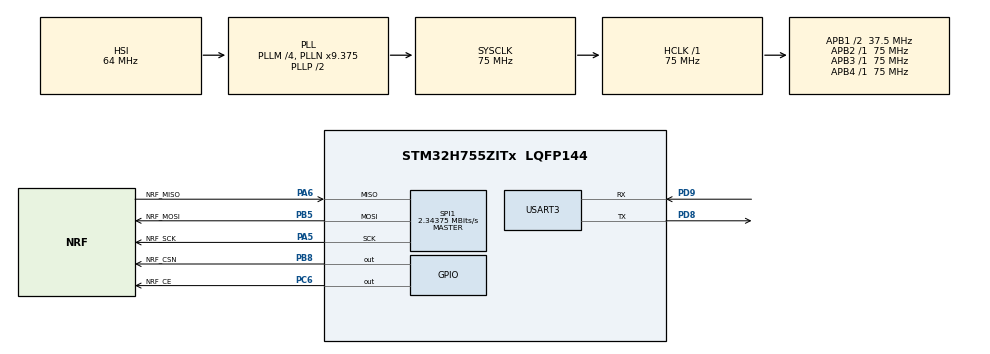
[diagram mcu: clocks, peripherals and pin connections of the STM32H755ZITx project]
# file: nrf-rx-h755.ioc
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CortexM4.IPs=BDMA,CORTEX_M4\:I,DEBUG,DMA,FATFS_M4\:I,FREERTOS_M4\:I,GPIO,IWDG2\:I,MDMA,NVIC2\:I,OPENAMP_M4\:I,PDM2PCM_M4\:I,PWR,RCC,RESMGR_UTILITY,SYS_M4\:I,USB_DEVICE_M4\:I,USB_HOST_M4\:I,VREFBUF,WWDG2\:I
CortexM7.IPs=BDMA\:I,CORTEX_M7\:I,DEBUG\:I,DMA\:I,FATFS_M7\:I,FREERTOS_M7\:I,GPIO\:I,IWDG1\:I,MDMA\:I,NVIC1\:I,OPENAMP_M7\:I,PDM2PCM_M7\:I,PWR\:I,RCC\:I,RESMGR_UTILITY\:I,SYS\:I,USB_DEVICE_M7\:I,USB_HOST_M7\:I,VREFBUF\:I,WWDG1\:I,USART3\:I,SPI1\:I
CortexM7.Pins=PC6,PB8
Mcu.Family=STM32H7
Mcu.Name=STM32H755ZITx
Mcu.Package=LQFP144
NVIC1.PriorityGroup=NVIC_PRIORITYGROUP_4
NVIC2.PriorityGroup=NVIC_PRIORITYGROUP_4
PA5.GPIO_Label=NRF_SCK
PA5.Mode=Full_Duplex_Master
PA5.PinAttribute=CortexM7
PA5.Signal=SPI1_SCK
PA6.GPIO_Label=NRF_MISO
PA6.Mode=Full_Duplex_Master
PA6.PinAttribute=CortexM7
PA6.Signal=SPI1_MISO
PB5.GPIO_Label=NRF_MOSI
PB5.Mode=Full_Duplex_Master
PB5.PinAttribute=CortexM7
PB5.Signal=SPI1_MOSI
PB8.GPIO_Label=NRF_CSN
PB8.PinAttribute=CortexM7
PB8.Signal=GPIO_Output
PC6.GPIO_Label=NRF_CE
PC6.PinAttribute=CortexM7
PC6.Signal=GPIO_Output
PD8.Mode=Asynchronous
PD8.PinAttribute=CortexM7
PD8.Signal=USART3_TX
PD9.Mode=Asynchronous
PD9.PinAttribute=CortexM7
PD9.Signal=USART3_RX
ProjectManager.HeapSize=M4-0x200,M7-0x200
ProjectManager.StackSize=M4-0x400,M7-0x400
ProjectManager.TargetToolchain=STM32CubeIDE
RCC.ADCFreq_Value=129000000
RCC.APB1Freq_Value=37500000
RCC.APB2Freq_Value=75000000
RCC.APB3Freq_Value=75000000
RCC.APB4Freq_Value=75000000
RCC.CortexFreq_Value=75000000
RCC.D2PPRE1=RCC_APB1_DIV2
RCC.DIVM1=4
RCC.DIVN1=9
RCC.HCLKFreq_Value=75000000
RCC.PLL2FRACN=0
RCC.PLL3FRACN=0
RCC.PLLFRACN=3072
RCC.SYSCLKFreq_VALUE=75000000
RCC.SYSCLKSource=RCC_SYSCLKSOURCE_PLLCLK
RCC.USBFreq_Value=75000000
SPI1.BaudRatePrescaler=SPI_BAUDRATEPRESCALER_32
SPI1.CalculateBaudRate=2.34375 MBits/s
SPI1.DataSize=SPI_DATASIZE_8BIT
SPI1.Direction=SPI_DIRECTION_2LINES
SPI1.Mode=SPI_MODE_MASTER
SPI1.VirtualType=VM_MASTER
USART3.VirtualMode-Asynchronous=VM_ASYNC
board=custom

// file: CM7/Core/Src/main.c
/* USER CODE BEGIN Header */
/**
  ******************************************************************************
  * @file           : main.c
  * @brief          : Main program body
  ******************************************************************************
  * @attention
  *
  * Copyright (c) 2023 STMicroelectronics.
  * All rights reserved.
  *
  * This software is licensed under terms that can be found in the LICENSE file
  * in the root directory of this software component.
  * If no LICENSE file comes with this software, it is provided AS-IS.
  *
  ******************************************************************************
  */
/* USER CODE END Header */
#include "main.h"

/* USER CODE BEGIN Includes */
#include <stdio.h>
#include "nrf24l01.h"
/* USER CODE END Includes */

/* USER CODE BEGIN PD */

#ifndef HSEM_ID_0
#define HSEM_ID_0 (0U) /* HW semaphore 0*/
#endif

/* USER CODE END PD */

SPI_HandleTypeDef hspi1;

UART_HandleTypeDef huart3;

void SystemClock_Config(void);
static void MX_GPIO_Init(void);
static void MX_USART3_UART_Init(void);
static void MX_SPI1_Init(void);

/* USER CODE BEGIN 0 */
#ifdef __GNUC__
#define PUTCHAR_PROTOTYPE int __io_putchar(int ch)
#else
#define PUTCHAR_PROTOTYPE int fputc(int ch, FILE *f)
#endif

PUTCHAR_PROTOTYPE
{
  HAL_UART_Transmit(&huart3, (uint8_t *)&ch, 1, HAL_MAX_DELAY);
  return ch;
}
/* USER CODE END 0 */

int main(void)
{
/* USER CODE BEGIN Boot_Mode_Sequence_0 */
  int32_t timeout;
/* USER CODE END Boot_Mode_Sequence_0 */

/* USER CODE BEGIN Boot_Mode_Sequence_1 */
  /* Wait until CPU2 boots and enters in stop mode or timeout*/
  timeout = 0xFFFF;
  while((__HAL_RCC_GET_FLAG(RCC_FLAG_D2CKRDY) != RESET) && (timeout-- > 0));
  if ( timeout < 0 )
  {
  Error_Handler();
  }
/* USER CODE END Boot_Mode_Sequence_1 */
  /* MCU Configuration--------------------------------------------------------*/

  /* Reset of all peripherals, Initializes the Flash interface and the Systick. */
  HAL_Init();

  /* Configure the system clock */
  SystemClock_Config();
/* USER CODE BEGIN Boot_Mode_Sequence_2 */
/* When system initialization is finished, Cortex-M7 will release Cortex-M4 by means of
HSEM notification */
/*HW semaphore Clock enable*/
__HAL_RCC_HSEM_CLK_ENABLE();
/*Take HSEM */
HAL_HSEM_FastTake(HSEM_ID_0);
/*Release HSEM in order to notify the CPU2(CM4)*/
HAL_HSEM_Release(HSEM_ID_0,0);
/* wait until CPU2 wakes up from stop mode */
timeout = 0xFFFF;
while((__HAL_RCC_GET_FLAG(RCC_FLAG_D2CKRDY) == RESET) && (timeout-- > 0));
if ( timeout < 0 )
{
Error_Handler();
}
/* USER CODE END Boot_Mode_Sequence_2 */

  /* Initialize all configured peripherals */
  MX_GPIO_Init();
  MX_USART3_UART_Init();
  MX_SPI1_Init();
  /* USER CODE BEGIN 2 */
  // Enter Standby-I mode
  NRF_Init(&hspi1, NRF_CSN_GPIO_Port, NRF_CSN_Pin, NRF_CE_GPIO_Port, NRF_CE_Pin);

  // Verify connection through SPI
  if(NRF_VerifySPI() != HAL_OK) {
    printf("Couldn't connect to nRF24L01+...\r\n");
    Error_Handler();
  }

  // Configure device
  NRF_SetModeRx();

  uint8_t rxAddr[5] = {1,2,3,4,5};
  NRF_WriteRegister(NRF_REG_RX_ADDR_P0, rxAddr, 5);

  uint8_t write = 10;
  NRF_WriteRegister(NRF_REG_RX_PW_P0, &write, 1);

  NRF_WriteBitReg(NRF_REG_STATUS, 6);

  // Flush TX FIFO
  NRF_SendCommand(NRF_CMD_FLUSH_RX);

  printf("Initalised...\r\n");

  NRF_CE_set();

  printf("Entered RX mode...\r\n");

  NRF_PrintFIFOStatus();
  NRF_PrintStatus();
  /* USER CODE END 2 */

  /* Infinite loop */
  /* USER CODE BEGIN WHILE */
  while (1)
  {
    uint8_t status;
    NRF_GetStatus(&status);
    if (status & 0x40) {
      uint8_t payload[10];
      NRF_ReadPayload(payload, 10);
      printf("Recieved data: ");
      for (int i = 0; i < 10; i++) {
        printf("%c", payload[i]);
      }
      printf("\r\n");
      NRF_WriteBitReg(NRF_REG_STATUS, 6);
    }
    /* USER CODE END WHILE */

  }
}

void SystemClock_Config(void)
{
  RCC_OscInitTypeDef RCC_OscInitStruct = {0};
  RCC_ClkInitTypeDef RCC_ClkInitStruct = {0};

  /** Supply configuration update enable
  */
  HAL_PWREx_ConfigSupply(PWR_DIRECT_SMPS_SUPPLY);

  /** Configure the main internal regulator output voltage
  */
  __HAL_PWR_VOLTAGESCALING_CONFIG(PWR_REGULATOR_VOLTAGE_SCALE3);

  while(!__HAL_PWR_GET_FLAG(PWR_FLAG_VOSRDY)) {}

  /** Initializes the RCC Oscillators according to the specified parameters
  * in the RCC_OscInitTypeDef structure.
  */
  RCC_OscInitStruct.OscillatorType = RCC_OSCILLATORTYPE_HSI;
  RCC_OscInitStruct.HSIState = RCC_HSI_DIV1;
  RCC_OscInitStruct.HSICalibrationValue = RCC_HSICALIBRATION_DEFAULT;
  RCC_OscInitStruct.PLL.PLLState = RCC_PLL_ON;
  RCC_OscInitStruct.PLL.PLLSource = RCC_PLLSOURCE_HSI;
  RCC_OscInitStruct.PLL.PLLM = 4;
  RCC_OscInitStruct.PLL.PLLN = 9;
  RCC_OscInitStruct.PLL.PLLP = 2;
  RCC_OscInitStruct.PLL.PLLQ = 2;
  RCC_OscInitStruct.PLL.PLLR = 2;
  RCC_OscInitStruct.PLL.PLLRGE = RCC_PLL1VCIRANGE_3;
  RCC_OscInitStruct.PLL.PLLVCOSEL = RCC_PLL1VCOMEDIUM;
  RCC_OscInitStruct.PLL.PLLFRACN = 3072;
  if (HAL_RCC_OscConfig(&RCC_OscInitStruct) != HAL_OK)
  {
    Error_Handler();
  }

  /** Initializes the CPU, AHB and APB buses clocks
  */
  RCC_ClkInitStruct.ClockType = RCC_CLOCKTYPE_HCLK|RCC_CLOCKTYPE_SYSCLK
                              |RCC_CLOCKTYPE_PCLK1|RCC_CLOCKTYPE_PCLK2
                              |RCC_CLOCKTYPE_D3PCLK1|RCC_CLOCKTYPE_D1PCLK1;
  RCC_ClkInitStruct.SYSCLKSource = RCC_SYSCLKSOURCE_PLLCLK;
  RCC_ClkInitStruct.SYSCLKDivider = RCC_SYSCLK_DIV1;
  RCC_ClkInitStruct.AHBCLKDivider = RCC_HCLK_DIV1;
  RCC_ClkInitStruct.APB3CLKDivider = RCC_APB3_DIV1;
  RCC_ClkInitStruct.APB1CLKDivider = RCC_APB1_DIV2;
  RCC_ClkInitStruct.APB2CLKDivider = RCC_APB2_DIV1;
  RCC_ClkInitStruct.APB4CLKDivider = RCC_APB4_DIV1;

  if (HAL_RCC_ClockConfig(&RCC_ClkInitStruct, FLASH_LATENCY_1) != HAL_OK)
  {
    Error_Handler();
  }
}

static void MX_SPI1_Init(void)
{

  /* SPI1 parameter configuration*/
  hspi1.Instance = SPI1;
  hspi1.Init.Mode = SPI_MODE_MASTER;
  hspi1.Init.Direction = SPI_DIRECTION_2LINES;
  hspi1.Init.DataSize = SPI_DATASIZE_8BIT;
  hspi1.Init.CLKPolarity = SPI_POLARITY_LOW;
  hspi1.Init.CLKPhase = SPI_PHASE_1EDGE;
  hspi1.Init.NSS = SPI_NSS_SOFT;
  hspi1.Init.BaudRatePrescaler = SPI_BAUDRATEPRESCALER_32;
  hspi1.Init.FirstBit = SPI_FIRSTBIT_MSB;
  hspi1.Init.TIMode = SPI_TIMODE_DISABLE;
  hspi1.Init.CRCCalculation = SPI_CRCCALCULATION_DISABLE;
  hspi1.Init.CRCPolynomial = 0x0;
  hspi1.Init.NSSPMode = SPI_NSS_PULSE_ENABLE;
  hspi1.Init.NSSPolarity = SPI_NSS_POLARITY_LOW;
  hspi1.Init.FifoThreshold = SPI_FIFO_THRESHOLD_01DATA;
  hspi1.Init.TxCRCInitializationPattern = SPI_CRC_INITIALIZATION_ALL_ZERO_PATTERN;
  hspi1.Init.RxCRCInitializationPattern = SPI_CRC_INITIALIZATION_ALL_ZERO_PATTERN;
  hspi1.Init.MasterSSIdleness = SPI_MASTER_SS_IDLENESS_00CYCLE;
  hspi1.Init.MasterInterDataIdleness = SPI_MASTER_INTERDATA_IDLENESS_00CYCLE;
  hspi1.Init.MasterReceiverAutoSusp = SPI_MASTER_RX_AUTOSUSP_DISABLE;
  hspi1.Init.MasterKeepIOState = SPI_MASTER_KEEP_IO_STATE_DISABLE;
  hspi1.Init.IOSwap = SPI_IO_SWAP_DISABLE;
  if (HAL_SPI_Init(&hspi1) != HAL_OK)
  {
    Error_Handler();
  }

}

static void MX_USART3_UART_Init(void)
{

  huart3.Instance = USART3;
  huart3.Init.BaudRate = 115200;
  huart3.Init.WordLength = UART_WORDLENGTH_8B;
  huart3.Init.StopBits = UART_STOPBITS_1;
  huart3.Init.Parity = UART_PARITY_NONE;
  huart3.Init.Mode = UART_MODE_TX_RX;
  huart3.Init.HwFlowCtl = UART_HWCONTROL_NONE;
  huart3.Init.OverSampling = UART_OVERSAMPLING_16;
  huart3.Init.OneBitSampling = UART_ONE_BIT_SAMPLE_DISABLE;
  huart3.Init.ClockPrescaler = UART_PRESCALER_DIV1;
  huart3.AdvancedInit.AdvFeatureInit = UART_ADVFEATURE_NO_INIT;
  if (HAL_UART_Init(&huart3) != HAL_OK)
  {
    Error_Handler();
  }
  if (HAL_UARTEx_SetTxFifoThreshold(&huart3, UART_TXFIFO_THRESHOLD_1_8) != HAL_OK)
  {
    Error_Handler();
  }
  if (HAL_UARTEx_SetRxFifoThreshold(&huart3, UART_RXFIFO_THRESHOLD_1_8) != HAL_OK)
  {
    Error_Handler();
  }
  if (HAL_UARTEx_DisableFifoMode(&huart3) != HAL_OK)
  {
    Error_Handler();
  }

}

static void MX_GPIO_Init(void)
{
  GPIO_InitTypeDef GPIO_InitStruct = {0};

  /* GPIO Ports Clock Enable */
  __HAL_RCC_GPIOA_CLK_ENABLE();
  __HAL_RCC_GPIOD_CLK_ENABLE();
  __HAL_RCC_GPIOC_CLK_ENABLE();
  __HAL_RCC_GPIOB_CLK_ENABLE();

  /*Configure GPIO pin Output Level */
  HAL_GPIO_WritePin(NRF_CE_GPIO_Port, NRF_CE_Pin, GPIO_PIN_RESET);

  /*Configure GPIO pin Output Level */
  HAL_GPIO_WritePin(NRF_CSN_GPIO_Port, NRF_CSN_Pin, GPIO_PIN_RESET);

  /*Configure GPIO pin : NRF_CE_Pin */
  GPIO_InitStruct.Pin = NRF_CE_Pin;
  GPIO_InitStruct.Mode = GPIO_MODE_OUTPUT_PP;
  GPIO_InitStruct.Pull = GPIO_NOPULL;
  GPIO_InitStruct.Speed = GPIO_SPEED_FREQ_LOW;
  HAL_GPIO_Init(NRF_CE_GPIO_Port, &GPIO_InitStruct);

  /*Configure GPIO pin : NRF_CSN_Pin */
  GPIO_InitStruct.Pin = NRF_CSN_Pin;
  GPIO_InitStruct.Mode = GPIO_MODE_OUTPUT_PP;
  GPIO_InitStruct.Pull = GPIO_NOPULL;
  GPIO_InitStruct.Speed = GPIO_SPEED_FREQ_LOW;
  HAL_GPIO_Init(NRF_CSN_GPIO_Port, &GPIO_InitStruct);

}

void Error_Handler(void)
{
  __disable_irq();
  while (1)
  {
  }
}
